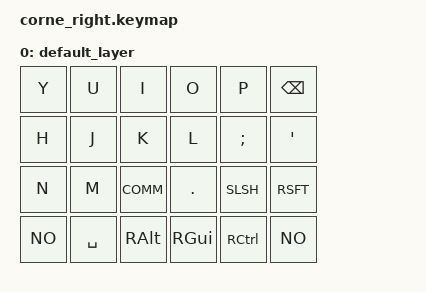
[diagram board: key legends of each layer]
#include <behaviors.dtsi>
#include <dt-bindings/zmk/keys.h>
#include <dt-bindings/zmk/bt.h>

/ {

    behaviors {
        compatible = "zmk,behaviors";
    };

    keymap {
        compatible = "zmk,keymap";

        default_layer {
            bindings = <
                &kp Y     &kp U     &kp I     &kp O     &kp P     &kp BSPC
                &kp H     &kp J     &kp K     &kp L     &kp SCLN  &kp QUOT
                &kp N     &kp M     &kp COMM  &kp DOT   &kp SLSH  &kp RSFT
                &kp NO    &kp SPC   &kp RALT  &kp RGUI  &kp RCTL  &kp NO
            >;
        };
    };
};
